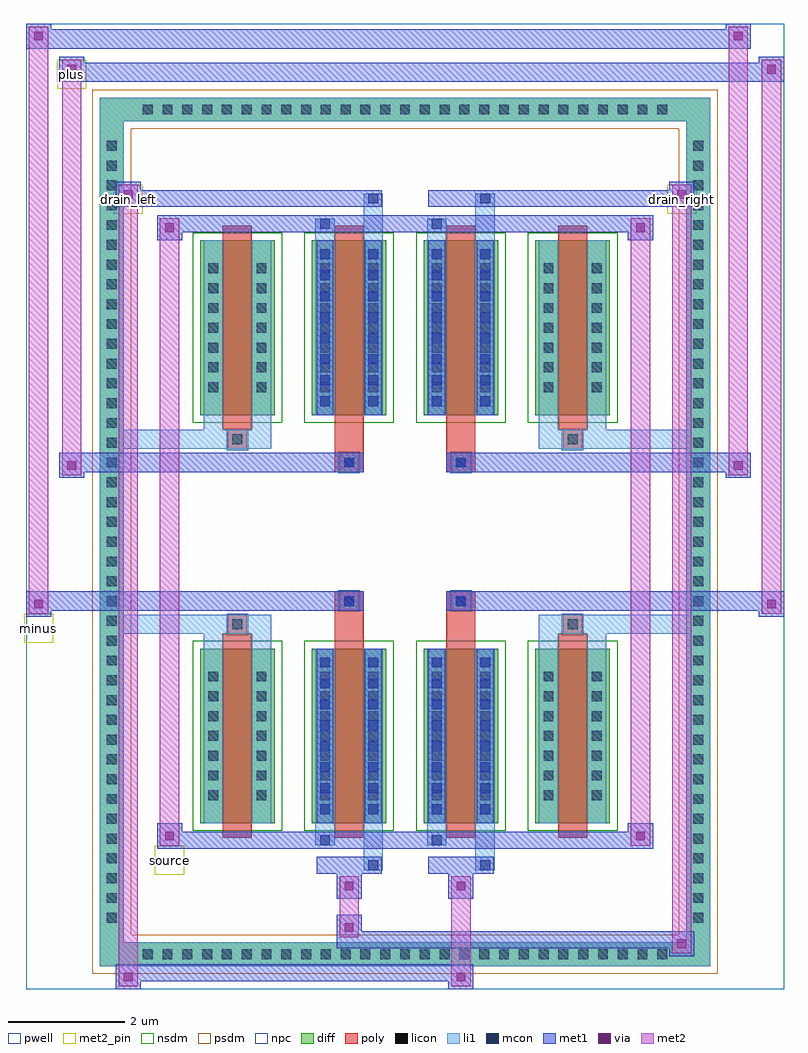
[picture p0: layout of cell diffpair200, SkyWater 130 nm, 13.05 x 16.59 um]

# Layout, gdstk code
import gdstk
lib = gdstk.Library(unit=1e-6, precision=5e-09)
def R(c, l, rs):  # rectangles x0, y0, x1, y1
    for r in rs: c.add(gdstk.rectangle(r[:2], r[2:], *l))
def A(c, l, x, y, w, h, nx, ny, dx, dy):  # array of equal rectangles
    R(c, l, [(x+i*dx, y+j*dy, x+i*dx+w, y+j*dy+h) for i in range(nx) for j in range(ny)])
def P(c, l, *ps):  # polygons
    for p in ps: c.add(gdstk.Polygon(p, *l))
pwell = (64, 44)
diff = (65, 20)
poly = (66, 20)
licon = (66, 44)
li1 = (67, 20)
mcon = (67, 44)
met1 = (68, 20)
via = (68, 44)
met2_pin = (69, 16)
met2 = (69, 20)
nsdm = (93, 44)
psdm = (94, 20)
npc = (95, 20)

diffpair200 = lib.new_cell('diffpair200')
R(diffpair200, pwell, [(-6.51,-7.86,6.51,8.73), (-3.83,-6.05,-0.01,-0.825), (0.01,-6.05,3.83,-0.825), (-3.83,0.825,-0.01,6.05), (0.01,0.825,3.83,6.05)])
A(diffpair200, diff, -4.625, -7.46, 0.41, 0.41, 27, 2, 0.34, 14.51)
A(diffpair200, diff, -5.24, -6.835, 0.41, 0.41, 1, 40, 0, 0.34)
A(diffpair200, diff, 4.83, -6.835, 0.41, 0.41, 1, 40, 0, 0.34)
A(diffpair200, diff, -3.52, -5.005, 1.28, 3, 4, 2, 1.92, 7.01)
R(diffpair200, diff, [(-4.625,-7.46,4.625,-7.05), (-5.24,-6.835,-4.83,6.835), (4.83,-6.835,5.24,6.835), (-4.625,7.05,4.625,7.46)])
P(diffpair200, diff, [(5.24,7.46),(-5.24,7.46),(-5.24,-7.05),(-4.83,-7.05),(-4.83,7.05),(4.83,7.05),(4.83,-7.05),(-4.83,-7.05),(-5.24,-7.05),(-5.24,-7.46),(5.24,-7.46)])
A(diffpair200, poly, -3.13, -5.255, 0.5, 3.5, 4, 2, 1.92, 7.01)
R(diffpair200, poly, [(-3.045,-1.755,-2.715,-1.425), (-3.045,-1.755,-2.715,-1.425), (-1.21,-1.755,-0.71,-1.355), (0.71,-1.755,1.21,-1.355), (2.715,-1.755,3.045,-1.425), (2.715,-1.755,3.045,-1.425), (-1.21,-1.355,-0.71,-1.025), (-1.125,-1.355,-0.795,-1.025), (0.71,-1.355,1.21,-1.025), (0.795,-1.355,1.125,-1.025), (-1.21,1.025,-0.71,1.355), (-1.125,1.025,-0.795,1.355), (0.71,1.025,1.21,1.355), (0.795,1.025,1.125,1.355), (-1.21,1.355,-0.71,1.755), (0.71,1.355,1.21,1.755), (-3.045,1.425,-2.715,1.755), (-3.045,1.425,-2.715,1.755), (2.715,1.425,3.045,1.755), (2.715,1.425,3.045,1.755)])
A(diffpair200, licon, -4.505, -7.34, 0.17, 0.17, 27, 2, 0.34, 14.51)
A(diffpair200, licon, -5.12, -6.715, 0.17, 0.17, 1, 40, 0, 0.34)
A(diffpair200, licon, 4.95, -6.715, 0.17, 0.17, 1, 40, 0, 0.34)
A(diffpair200, licon, -3.38, -4.61, 0.17, 0.17, 1, 7, 0, 0.34)
A(diffpair200, licon, -2.55, -4.61, 0.17, 0.17, 1, 7, 0, 0.34)
A(diffpair200, licon, -1.46, -4.61, 0.17, 0.17, 1, 7, 0, 0.34)
A(diffpair200, licon, -0.63, -4.61, 0.17, 0.17, 1, 7, 0, 0.34)
A(diffpair200, licon, 0.46, -4.61, 0.17, 0.17, 1, 7, 0, 0.34)
A(diffpair200, licon, 1.29, -4.61, 0.17, 0.17, 1, 7, 0, 0.34)
A(diffpair200, licon, 2.38, -4.61, 0.17, 0.17, 1, 7, 0, 0.34)
A(diffpair200, licon, 3.21, -4.61, 0.17, 0.17, 1, 7, 0, 0.34)
A(diffpair200, licon, -3.38, 2.4, 0.17, 0.17, 1, 7, 0, 0.34)
A(diffpair200, licon, -2.55, 2.4, 0.17, 0.17, 1, 7, 0, 0.34)
A(diffpair200, licon, -1.46, 2.4, 0.17, 0.17, 1, 7, 0, 0.34)
A(diffpair200, licon, -0.63, 2.4, 0.17, 0.17, 1, 7, 0, 0.34)
A(diffpair200, licon, 0.46, 2.4, 0.17, 0.17, 1, 7, 0, 0.34)
A(diffpair200, licon, 1.29, 2.4, 0.17, 0.17, 1, 7, 0, 0.34)
A(diffpair200, licon, 2.38, 2.4, 0.17, 0.17, 1, 7, 0, 0.34)
A(diffpair200, licon, 3.21, 2.4, 0.17, 0.17, 1, 7, 0, 0.34)
R(diffpair200, licon, [(-2.965,-1.675,-2.795,-1.505), (2.795,-1.675,2.965,-1.505), (-1.045,-1.275,-0.875,-1.105), (0.875,-1.275,1.045,-1.105), (-1.045,1.105,-0.875,1.275), (0.875,1.105,1.045,1.275), (-2.965,1.505,-2.795,1.675), (2.795,1.505,2.965,1.675)])
A(diffpair200, li1, -4.585, -7.42, 0.33, 0.33, 27, 2, 0.34, 14.51)
A(diffpair200, li1, -5.2, -6.795, 0.33, 0.33, 1, 40, 0, 0.34)
A(diffpair200, li1, 4.87, -6.795, 0.33, 0.33, 1, 40, 0, 0.34)
A(diffpair200, li1, -1.46, -4.85, 0.17, 0.17, 1, 8, 0, 0.36)
A(diffpair200, li1, -0.63, -4.85, 0.17, 0.17, 1, 8, 0, 0.36)
A(diffpair200, li1, 0.46, -4.85, 0.17, 0.17, 1, 8, 0, 0.36)
A(diffpair200, li1, 1.29, -4.85, 0.17, 0.17, 1, 8, 0, 0.36)
A(diffpair200, li1, -3.46, -4.69, 0.33, 0.33, 1, 7, 0, 0.34)
A(diffpair200, li1, -2.63, -4.69, 0.33, 0.33, 1, 7, 0, 0.34)
A(diffpair200, li1, -1.54, -4.69, 0.33, 0.33, 1, 7, 0, 0.34)
A(diffpair200, li1, -0.71, -4.69, 0.33, 0.33, 1, 7, 0, 0.34)
A(diffpair200, li1, 0.38, -4.69, 0.33, 0.33, 1, 7, 0, 0.34)
A(diffpair200, li1, 1.21, -4.69, 0.33, 0.33, 1, 7, 0, 0.34)
A(diffpair200, li1, 2.3, -4.69, 0.33, 0.33, 1, 7, 0, 0.34)
A(diffpair200, li1, 3.13, -4.69, 0.33, 0.33, 1, 7, 0, 0.34)
A(diffpair200, li1, -1.46, 2.16, 0.17, 0.17, 1, 8, 0, 0.36)
A(diffpair200, li1, -0.63, 2.16, 0.17, 0.17, 1, 8, 0, 0.36)
A(diffpair200, li1, 0.46, 2.16, 0.17, 0.17, 1, 8, 0, 0.36)
A(diffpair200, li1, 1.29, 2.16, 0.17, 0.17, 1, 8, 0, 0.36)
A(diffpair200, li1, -3.46, 2.32, 0.33, 0.33, 1, 7, 0, 0.34)
A(diffpair200, li1, -2.63, 2.32, 0.33, 0.33, 1, 7, 0, 0.34)
A(diffpair200, li1, -1.54, 2.32, 0.33, 0.33, 1, 7, 0, 0.34)
A(diffpair200, li1, -0.71, 2.32, 0.33, 0.33, 1, 7, 0, 0.34)
A(diffpair200, li1, 0.38, 2.32, 0.33, 0.33, 1, 7, 0, 0.34)
A(diffpair200, li1, 1.21, 2.32, 0.33, 0.33, 1, 7, 0, 0.34)
A(diffpair200, li1, 2.3, 2.32, 0.33, 0.33, 1, 7, 0, 0.34)
A(diffpair200, li1, 3.13, 2.32, 0.33, 0.33, 1, 7, 0, 0.34)
R(diffpair200, li1, [(-5.24,-7.46,-4.83,-7.05), (-5.24,-7.46,-4.83,-7.05), (-4.83,-7.46,4.83,-7.05), (4.83,-7.46,5.24,-7.05), (4.83,-7.46,5.24,-7.05), (-5.24,-7.05,-4.83,7.05), (4.83,-7.05,5.24,7.05), (-0.71,-5.81,-0.38,-5.005), (-0.63,-5.81,-0.46,-5.64), (1.21,-5.81,1.54,-5.005), (1.29,-5.81,1.46,-5.64), (-1.54,-5.38,-1.21,-5.005), (-1.46,-5.38,-1.29,-5.21), (0.38,-5.38,0.71,-5.005), (0.46,-5.38,0.63,-5.21), (-3.46,-5.005,-3.13,-2.005), (-2.63,-5.005,-2.3,-2.005), (-1.54,-5.005,-1.21,-2.005), (-0.71,-5.005,-0.38,-2.005), (0.38,-5.005,0.71,-2.005), (1.21,-5.005,1.54,-2.005), (2.3,-5.005,2.63,-2.005), (3.13,-5.005,3.46,-2.005), (-1.46,-4.85,-1.29,-2.16), (-0.63,-4.85,-0.46,-2.16), (0.46,-4.85,0.63,-2.16), (1.29,-4.85,1.46,-2.16), (-3.46,-2.005,-3.13,-1.425), (-2.63,-2.005,-2.3,-1.425), (2.3,-2.005,2.63,-1.425), (3.13,-2.005,3.46,-1.425), (-5.24,-1.755,-3.045,-1.425), (-3.46,-1.755,-3.045,-1.425), (-3.045,-1.755,-2.715,-1.425), (-2.715,-1.755,-2.3,-1.425), (2.3,-1.755,2.715,-1.425), (2.715,-1.755,3.045,-1.425), (2.715,-1.755,5.24,-1.425), (3.045,-1.755,3.46,-1.425), (-1.125,-1.355,-0.795,-1.025), (0.795,-1.355,1.125,-1.025), (-1.125,1.025,-0.795,1.355), (0.795,1.025,1.125,1.355), (-5.24,1.425,-3.045,1.755), (-3.46,1.425,-3.045,1.755), (-3.46,1.425,-3.13,2.005), (-3.045,1.425,-2.715,1.755), (-2.715,1.425,-2.3,1.755), (-2.63,1.425,-2.3,2.005), (2.3,1.425,2.715,1.755), (2.3,1.425,2.63,2.005), (2.715,1.425,3.045,1.755), (2.715,1.425,5.24,1.755), (3.045,1.425,3.46,1.755), (3.13,1.425,3.46,2.005), (-3.46,2.005,-3.13,5.005), (-2.63,2.005,-2.3,5.005), (-1.54,2.005,-1.21,5.005), (-0.71,2.005,-0.38,5.005), (0.38,2.005,0.71,5.005), (1.21,2.005,1.54,5.005), (2.3,2.005,2.63,5.005), (3.13,2.005,3.46,5.005), (-1.46,2.16,-1.29,4.85), (-0.63,2.16,-0.46,4.85), (0.46,2.16,0.63,4.85), (1.29,2.16,1.46,4.85), (-1.54,5.005,-1.21,5.38), (-0.71,5.005,-0.38,5.81), (0.38,5.005,0.71,5.38), (1.21,5.005,1.54,5.81), (-1.46,5.21,-1.29,5.38), (0.46,5.21,0.63,5.38), (-0.63,5.64,-0.46,5.81), (1.29,5.64,1.46,5.81), (-5.24,7.05,-4.83,7.46), (-5.24,7.05,-4.83,7.46), (-4.83,7.05,4.83,7.46), (4.83,7.05,5.24,7.46), (4.83,7.05,5.24,7.46)])
A(diffpair200, mcon, -1.46, -4.85, 0.17, 0.17, 1, 8, 0, 0.36)
A(diffpair200, mcon, -0.63, -4.85, 0.17, 0.17, 1, 8, 0, 0.36)
A(diffpair200, mcon, 0.46, -4.85, 0.17, 0.17, 1, 8, 0, 0.36)
A(diffpair200, mcon, 1.29, -4.85, 0.17, 0.17, 1, 8, 0, 0.36)
A(diffpair200, mcon, -1.46, 2.16, 0.17, 0.17, 1, 8, 0, 0.36)
A(diffpair200, mcon, -0.63, 2.16, 0.17, 0.17, 1, 8, 0, 0.36)
A(diffpair200, mcon, 0.46, 2.16, 0.17, 0.17, 1, 8, 0, 0.36)
A(diffpair200, mcon, 1.29, 2.16, 0.17, 0.17, 1, 8, 0, 0.36)
R(diffpair200, mcon, [(-0.63,-5.81,-0.46,-5.64), (1.29,-5.81,1.46,-5.64), (-1.46,-5.38,-1.29,-5.21), (0.46,-5.38,0.63,-5.21), (-1.045,-1.275,-0.875,-1.105), (0.875,-1.275,1.045,-1.105), (-1.045,1.105,-0.875,1.275), (0.875,1.105,1.045,1.275), (-1.46,5.21,-1.29,5.38), (0.46,5.21,0.63,5.38), (-0.63,5.64,-0.46,5.81), (1.29,5.64,1.46,5.81)])
A(diffpair200, met1, -1.52, -4.91, 0.29, 0.29, 1, 8, 0, 0.36)
A(diffpair200, met1, -0.69, -4.91, 0.29, 0.29, 1, 8, 0, 0.36)
A(diffpair200, met1, 0.4, -4.91, 0.29, 0.29, 1, 8, 0, 0.36)
A(diffpair200, met1, 1.23, -4.91, 0.29, 0.29, 1, 8, 0, 0.36)
A(diffpair200, met1, -1.52, 2.1, 0.29, 0.29, 1, 8, 0, 0.36)
A(diffpair200, met1, -0.69, 2.1, 0.29, 0.29, 1, 8, 0, 0.36)
A(diffpair200, met1, 0.4, 2.1, 0.29, 0.29, 1, 8, 0, 0.36)
A(diffpair200, met1, 1.23, 2.1, 0.29, 0.29, 1, 8, 0, 0.36)
R(diffpair200, met1, [(-4.97,-7.86,-4.54,-7.43), (0.745,-7.86,1.175,-7.43), (-4.97,-7.72,1.175,-7.43), (4.54,-7.29,4.97,-6.86), (-1.175,-7.15,4.97,-6.86), (-1.175,-7.01,-0.745,-6.58), (-1.175,-6.3,-0.745,-5.87), (0.745,-6.3,1.175,-5.87), (-1.52,-5.87,-0.4,-5.58), (-0.69,-5.87,-0.4,-5.58), (0.4,-5.87,1.52,-5.58), (1.23,-5.87,1.52,-5.58), (-4.26,-5.44,-3.83,-5.01), (-4.26,-5.44,-1.52,-5.15), (-1.52,-5.44,-1.23,-5.15), (-1.52,-5.44,-0.4,-5.15), (-0.4,-5.44,0.4,-5.15), (0.4,-5.44,0.69,-5.15), (0.4,-5.44,1.52,-5.15), (1.52,-5.44,4.26,-5.15), (3.83,-5.44,4.26,-5.01), (-1.52,-5.005,-1.23,-2.005), (-0.69,-5.005,-0.4,-2.005), (0.4,-5.005,0.69,-2.005), (1.23,-5.005,1.52,-2.005), (-6.51,-1.455,-6.08,-1.025), (6.08,-1.455,6.51,-1.025), (-6.51,-1.355,-0.71,-1.025), (-1.21,-1.355,-0.71,-1.025), (0.71,-1.355,1.21,-1.025), (0.71,-1.355,6.51,-1.025), (-1.105,-1.335,-0.815,-1.045), (0.815,-1.335,1.105,-1.045), (-5.94,0.925,-5.51,1.355), (5.51,0.925,5.94,1.355), (-5.94,1.025,-1.21,1.355), (-1.21,1.025,-0.71,1.355), (0.71,1.025,1.21,1.355), (1.21,1.025,5.94,1.355), (-1.105,1.045,-0.815,1.335), (0.815,1.045,1.105,1.335), (-1.52,2.005,-1.23,5.005), (-0.69,2.005,-0.4,5.005), (0.4,2.005,0.69,5.005), (1.23,2.005,1.52,5.005), (-4.26,5.01,-3.83,5.44), (3.83,5.01,4.26,5.44), (-4.26,5.15,-1.52,5.44), (-1.52,5.15,-1.23,5.44), (-1.52,5.15,-0.4,5.44), (-0.4,5.15,0.4,5.44), (0.4,5.15,0.69,5.44), (0.4,5.15,1.52,5.44), (1.52,5.15,4.26,5.44), (-4.97,5.58,-4.54,6.01), (-4.97,5.58,-1.52,5.87), (-1.52,5.58,-0.4,5.87), (-0.69,5.58,-0.4,5.87), (0.4,5.58,1.52,5.87), (1.23,5.58,1.52,5.87), (1.52,5.58,4.97,5.87), (4.54,5.58,4.97,6.01), (-5.94,7.73,-5.51,8.16), (-5.94,7.73,-3.83,8.06), (-3.83,7.73,3.83,8.06), (3.83,7.73,6.51,8.06), (6.08,7.73,6.51,8.16), (-6.51,8.3,-6.08,8.73), (-6.51,8.3,-3.83,8.63), (-3.83,8.3,3.83,8.63), (3.83,8.3,5.94,8.63), (5.51,8.3,5.94,8.73)])
R(diffpair200, via, [(-4.83,-7.72,-4.68,-7.57), (0.885,-7.72,1.035,-7.57), (4.68,-7.15,4.83,-7), (-1.035,-6.87,-0.885,-6.72), (-1.035,-6.16,-0.885,-6.01), (0.885,-6.16,1.035,-6.01), (-4.12,-5.3,-3.97,-5.15), (3.97,-5.3,4.12,-5.15), (-6.37,-1.315,-6.22,-1.165), (6.22,-1.315,6.37,-1.165), (-5.8,1.065,-5.65,1.215), (5.65,1.065,5.8,1.215), (-4.12,5.15,-3.97,5.3), (3.97,5.15,4.12,5.3), (-4.83,5.72,-4.68,5.87), (4.68,5.72,4.83,5.87), (-5.8,7.87,-5.65,8.02), (6.22,7.87,6.37,8.02), (-6.37,8.44,-6.22,8.59), (5.65,8.44,5.8,8.59)])
R(diffpair200, met2_pin, [(-4.295,-5.89,-3.795,-5.39), (-6.545,-1.905,-6.045,-1.405), (-5.005,5.46,-4.505,5.96), (4.505,5.46,5.005,5.96), (-5.975,7.61,-5.475,8.11)])
R(diffpair200, met2, [(-4.92,-7.81,-4.59,-7.48), (-4.92,-7.81,-4.59,5.96), (0.795,-7.81,1.125,-7.48), (0.795,-7.48,1.125,-6.25), (4.59,-7.24,4.92,-6.91), (4.59,-7.24,4.92,5.96), (-1.125,-6.96,-0.795,-6.63), (-1.125,-6.63,-0.795,-6.25), (-1.125,-6.25,-0.795,-5.92), (0.795,-6.25,1.125,-5.92), (-4.21,-5.39,-3.88,-5.06), (-4.21,-5.39,-3.88,5.39), (3.88,-5.39,4.21,-5.06), (3.88,-5.39,4.21,5.39), (-6.46,-1.405,-6.13,-1.075), (-6.46,-1.405,-6.13,8.68), (6.13,-1.405,6.46,-1.075), (6.13,-1.405,6.46,8.11), (-5.89,0.975,-5.56,1.305), (-5.89,0.975,-5.56,8.11), (5.56,0.975,5.89,1.305), (5.56,0.975,5.89,8.68), (-4.21,5.06,-3.88,5.39), (3.88,5.06,4.21,5.39), (-4.92,5.63,-4.59,5.96), (4.59,5.63,4.92,5.96), (-5.89,7.78,-5.56,8.11), (6.13,7.78,6.46,8.11), (-6.46,8.35,-6.13,8.68), (5.56,8.35,5.89,8.68)])
P(diffpair200, met2, [(6.46,-1.405),(6.46,-1.405),(6.46,-1.075),(6.46,-1.075)],
  [(6.46,7.78),(6.46,7.78),(6.46,8.11),(6.46,8.11)],
  [(-6.13,-1.405),(-6.13,-1.405),(-6.13,-1.075),(-6.13,-1.075)],
  [(-6.13,8.35),(-6.13,8.35),(-6.13,8.68),(-6.13,8.68)],
  [(5.89,0.975),(5.89,0.975),(5.89,1.305),(5.89,1.305)],
  [(5.89,8.35),(5.89,8.35),(5.89,8.68),(5.89,8.68)],
  [(-5.56,0.975),(-5.56,0.975),(-5.56,1.305),(-5.56,1.305)],
  [(-5.56,7.78),(-5.56,7.78),(-5.56,8.11),(-5.56,8.11)],
  [(-4.59,-7.81),(-4.59,-7.81),(-4.59,-7.48),(-4.59,-7.48)],
  [(-4.59,5.63),(-4.59,5.63),(-4.59,5.96),(-4.59,5.96)],
  [(4.92,-7.24),(4.92,-7.24),(4.92,-6.91),(4.92,-6.91)],
  [(4.92,5.63),(4.92,5.63),(4.92,5.96),(4.92,5.96)],
  [(-3.88,-5.39),(-3.88,-5.39),(-3.88,-5.06),(-3.88,-5.06)],
  [(-3.88,5.06),(-3.88,5.06),(-3.88,5.39),(-3.88,5.39)],
  [(4.21,-5.39),(4.21,-5.39),(4.21,-5.06),(4.21,-5.06)],
  [(4.21,5.06),(4.21,5.06),(4.21,5.39),(4.21,5.39)])
A(diffpair200, nsdm, -3.65, -5.135, 1.54, 3.26, 4, 2, 1.92, 7.01)
P(diffpair200, psdm, [(5.37,7.59),(-5.37,7.59),(-5.37,-6.92),(-4.7,-6.92),(-4.7,6.92),(4.7,6.92),(4.7,-6.92),(-4.7,-6.92),(-5.37,-6.92),(-5.37,-7.59),(5.37,-7.59)])
R(diffpair200, npc, [(-3.065,-1.775,-2.695,-1.405), (2.695,-1.775,3.065,-1.405), (-1.145,-1.375,-0.775,-1.005), (0.775,-1.375,1.145,-1.005), (-1.145,1.005,-0.775,1.375), (0.775,1.005,1.145,1.375), (-3.065,1.405,-2.695,1.775), (2.695,1.405,3.065,1.775)])
diffpair200.add(gdstk.Label('minus', (-6.295,-1.655), layer=69, texttype=5))
diffpair200.add(gdstk.Label('drain_right', (4.755,5.71), layer=69, texttype=5))
diffpair200.add(gdstk.Label('drain_left', (-4.755,5.71), layer=69, texttype=5))
diffpair200.add(gdstk.Label('source', (-4.045,-5.64), layer=69, texttype=5))
diffpair200.add(gdstk.Label('plus', (-5.725,7.86), layer=69, texttype=5))

lib.write_gds('diffpair200.gds')
